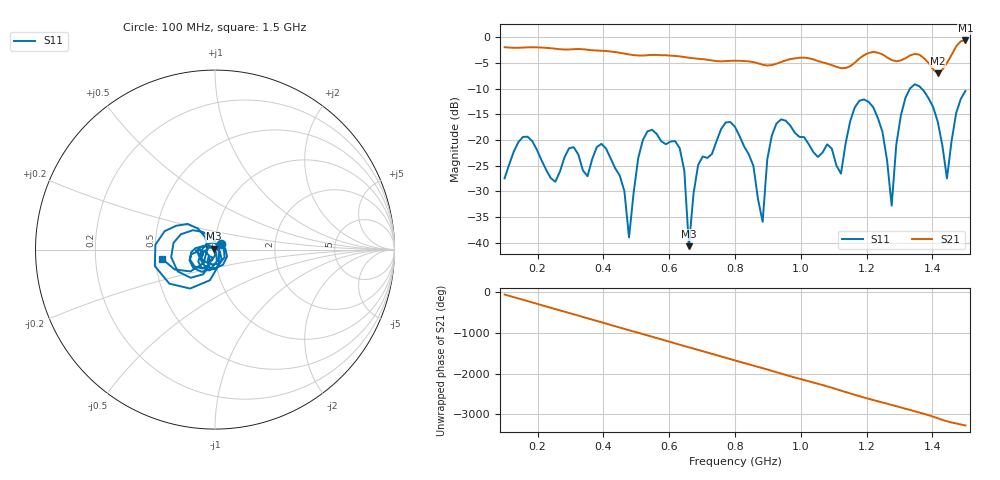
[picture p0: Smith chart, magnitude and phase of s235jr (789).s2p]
! NanoVNA-App
! Date: 2025-09-25 15:10:18
! Start: 100MHz Stop: 1,5GHz Points: 101
! S-Parameter data: F S11 S21 S12 S22
# Hz S RI R 50
!  Frequency  S11_Real  S11_Imag  S21_Real  S21_Imag  S12_Real  S12_Imag  S22_Real  S22_Imag
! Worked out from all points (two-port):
!   101 points, 100 MHz to 1.5 GHz, reference 50 ohm
!   highest |S21| = -0.65 dB at 1.5 GHz (marker M1); lowest = -7.0 dB at 1.416 GHz (marker M2)
!   |S21| within 3 dB of the highest: start of sweep to 614.7 MHz; 1.189 GHz to 1.255 GHz (66.11 MHz wide, 5.41 % of centre) (the widest 2 of 4)
!   lowest |S11| = -40.7 dB at 660 MHz (marker M3), VSWR 1.02, Z = 49.3 + j0.558 ohm
!   |S11| at or under -10 dB: start of sweep to 1.332 GHz; 1.367 GHz to end of sweep
!   S12 and S22 are empty: the file has one direction only
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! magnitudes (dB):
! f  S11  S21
! 100 MHz  -27.5  -2.0
! 156 MHz  -19.4  -2.0
! 338 MHz  -26.0  -2.4
! 408 MHz  -21.6  -2.7
! 478 MHz  -39.0  -3.4
! 520 MHz  -20.0  -3.6
! 576 MHz  -20.3  -3.5
! 632 MHz  -21.6  -3.7
! 660 MHz  -40.7  -4.0
! 688 MHz  -24.9  -4.2
! 800 MHz  -17.5  -4.6
! 884 MHz  -35.9  -5.4
! 926 MHz  -16.8  -5.2
! 1.038 GHz  -22.4  -4.3
! 1.122 GHz  -26.6  -6.0
! 1.206 GHz  -12.6  -3.1
! 1.248 GHz  -18.4  -3.4
! 1.276 GHz  -32.8  -4.5
! 1.332 GHz  -10.0  -3.6
! 1.416 GHz  -16.4  -7.0
! 1.444 GHz  -27.5  -5.0
! 1.5 GHz  -10.5  -0.7
